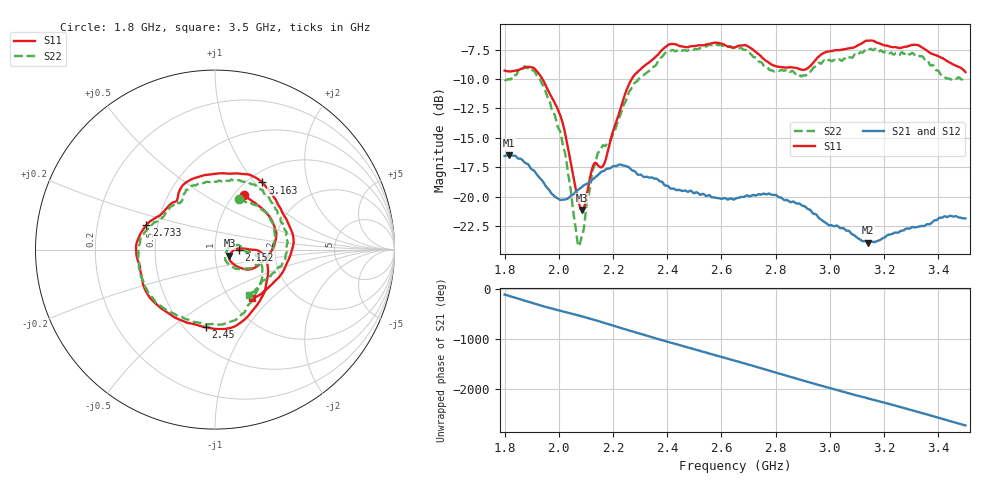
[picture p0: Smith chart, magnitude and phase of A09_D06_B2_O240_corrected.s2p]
! Created with skrf 1.9.0 (http://scikit-rf.org).
# Hz S RI R 50.0
!freq ReS11 ImS11 ReS21 ImS21 ReS12 ImS12 ReS22 ImS22
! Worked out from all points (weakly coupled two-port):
!   1601 points, 1.8 GHz to 3.5 GHz, reference 50 ohm
!   highest |S21| = -16.48 dB at 1.816 GHz (marker M1); lowest = -23.9 dB at 3.142 GHz (marker M2)
!   lowest |S11| = -21.1 dB at 2.085 GHz (marker M3), VSWR 1.19, Z = 58.6 - j4.07 ohm
!   |S11| at or under -10 dB: 1.939 GHz to 2.269 GHz (329.6 MHz wide, 15.7 % of centre)
!   |S22| runs from -24.2 to -7.0 dB; largest |S21 - S12| = 0.0025
!   S11 on the Smith chart (normalised r, x): 1.8 GHz: 1.12, +0.76; 2.152 GHz: 1.31, -0.01; 2.45 GHz: 0.63, -0.67; 2.733 GHz: 0.43, +0.14; 3.163 GHz: 1.16, +1.10; 3.5 GHz: 1.26, -0.76
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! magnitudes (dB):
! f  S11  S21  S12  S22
! 1.8 GHz  -9.3  -16.6  -16.5  -10.1
! 1.816 GHz  -9.4  -16.5  -16.5  -10.0
! 1.881 GHz  -9.0  -17.2  -17.2  -9.1
! 1.943 GHz  -10.2  -18.8  -18.8  -10.6
! 2.011 GHz  -13.5  -20.3  -20.3  -15.2
! 2.068 GHz  -19.9  -19.5  -19.5  -23.7
! 2.084 GHz  -21.1  -19.2  -19.2  -23.4
! 2.085 GHz  -21.1  -19.2  -19.2  -23.4
! 2.127 GHz  -17.3  -18.5  -18.5  -17.6
! 2.152 GHz  -17.5  -18.0  -18.0  -16.1
! 2.195 GHz  -14.8  -17.5  -17.5  -14.9
! 2.265 GHz  -10.2  -17.7  -17.7  -10.9
! 2.367 GHz  -7.9  -18.6  -18.5  -8.4
! 2.45 GHz  -7.2  -19.5  -19.5  -7.6
! 2.65 GHz  -7.3  -20.2  -20.2  -7.3
! 2.733 GHz  -7.8  -19.8  -19.8  -8.4
! 2.934 GHz  -8.7  -21.3  -21.3  -9.2
! 3.142 GHz  -6.7  -23.9  -23.8  -7.6
! 3.163 GHz  -6.8  -23.9  -23.8  -7.5
! 3.217 GHz  -7.2  -23.2  -23.2  -7.8
! 3.325 GHz  -7.1  -22.6  -22.5  -7.9
! 3.5 GHz  -9.4  -21.8  -21.8  -10.1
